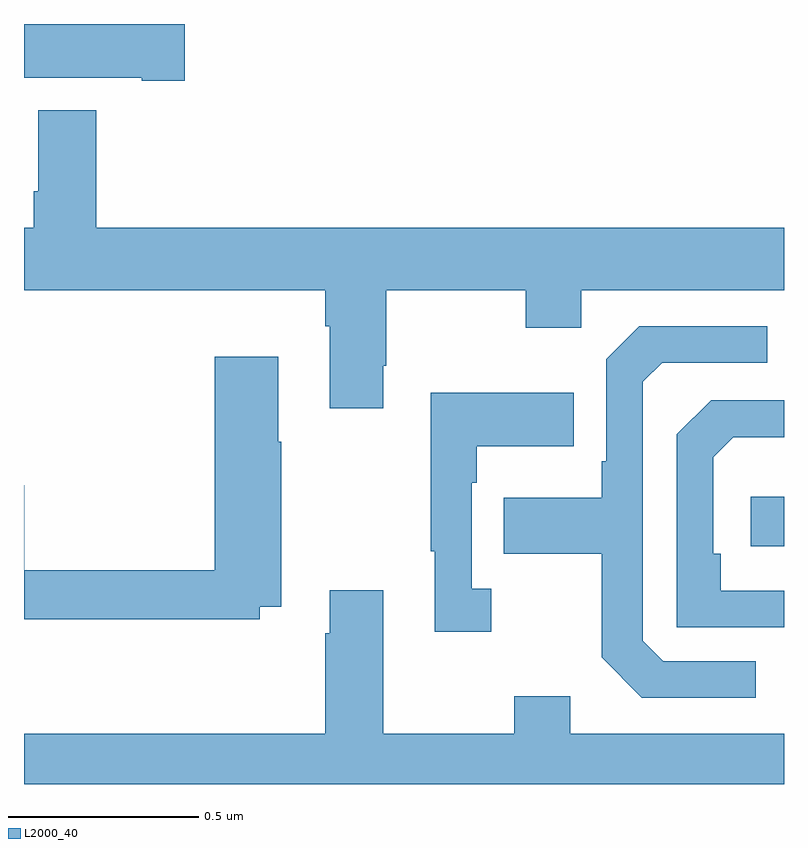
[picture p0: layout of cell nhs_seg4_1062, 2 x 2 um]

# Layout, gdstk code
import gdstk
lib = gdstk.Library(unit=1e-6, precision=1e-09)
def R(c, l, rs):  # rectangles x0, y0, x1, y1
    for r in rs: c.add(gdstk.rectangle(r[:2], r[2:], *l))
def P(c, l, *ps):  # polygons
    for p in ps: c.add(gdstk.Polygon(p, *l))
L2000_40 = (2000, 40)

nhs_seg4_1062 = lib.new_cell('nhs_seg4_1062')
R(nhs_seg4_1062, L2000_40, [(125.913,749.526,126,749.656)])
P(nhs_seg4_1062, L2000_40, [(124.423,750.9),(124,750.9),(124,750.758),(124.31,750.758),(124.31,750.751),(124.423,750.751)],
  [(124.945,750.001),(124.953,750.001),(124.953,750.2),(125.32,750.2),(125.32,750.101),(125.466,750.101),(125.466,750.2),(126,750.2),(126,750.364),(124.19,750.364),(124.19,750.673),(124.037,750.673),(124.037,750.46),(124.025,750.46),(124.025,750.364),(124,750.364),(124,750.2),(124.793,750.2),(124.793,750.104),(124.805,750.104),(124.805,749.889),(124.945,749.889)],
  [(125.926,749.223),(125.682,749.223),(125.628,749.277),(125.628,749.958),(125.679,750.009),(125.956,750.009),(125.956,750.105),(125.619,750.105),(125.532,750.018),(125.532,749.749),(125.52,749.749),(125.52,749.653),(125.263,749.653),(125.263,749.506),(125.52,749.506),(125.52,749.233),(125.625,749.127),(125.926,749.127)],
  [(124.62,749.366),(124.677,749.366),(124.677,749.801),(124.669,749.801),(124.669,750.025),(124.502,750.025),(124.502,749.462),(124.001,749.462),(124.001,749.686),(124,749.686),(124,749.334),(124.62,749.334)],
  [(125.23,749.414),(125.178,749.414),(125.178,749.693),(125.191,749.693),(125.191,749.789),(125.447,749.789),(125.447,749.929),(125.07,749.929),(125.07,749.513),(125.081,749.513),(125.081,749.301),(125.23,749.301)],
  [(126,749.409),(125.834,749.409),(125.834,749.506),(125.814,749.506),(125.814,749.76),(125.867,749.813),(126,749.813),(126,749.91),(125.808,749.91),(125.718,749.82),(125.718,749.313),(126,749.313)],
  [(126,749.032),(125.437,749.032),(125.437,749.131),(125.29,749.131),(125.29,749.032),(124.945,749.032),(124.945,749.41),(124.805,749.41),(124.805,749.297),(124.793,749.297),(124.793,749.032),(124,749.032),(124,748.9),(126,748.9)])

lib.write_gds('nhs_seg4_1062.gds')
